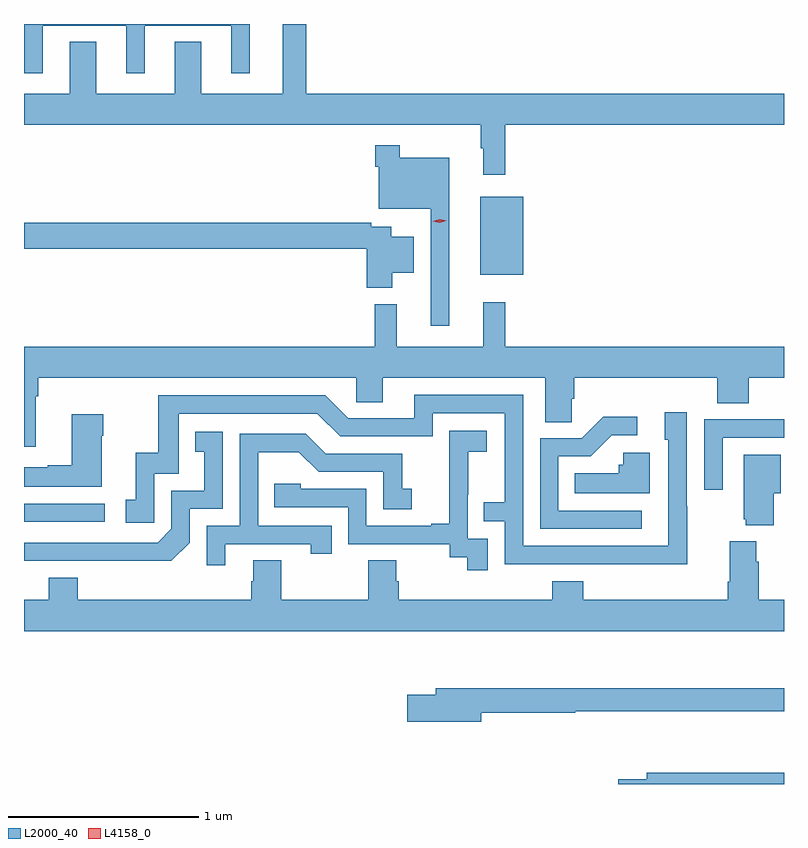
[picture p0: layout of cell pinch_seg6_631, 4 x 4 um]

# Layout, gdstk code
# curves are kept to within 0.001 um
import gdstk
lib = gdstk.Library(unit=1e-6, precision=1e-09)
def R(c, l, rs):  # rectangles x0, y0, x1, y1
    for r in rs: c.add(gdstk.rectangle(r[:2], r[2:], *l))
def P(c, l, *ps):  # polygons
    for p in ps: c.add(gdstk.Polygon(p, *l))
L2000_40 = (2000, 40)
L4158_0 = (4158, 0)

pinch_seg6_631 = lib.new_cell('pinch_seg6_631')
R(pinch_seg6_631, L2000_40, [(417.286,927.93,417.712,928.026), (419.687,929.231,419.914,929.641)])
P(pinch_seg6_631, L2000_40, [(417.385,930.542),(417.824,930.542),(417.824,930.291),(417.922,930.291),(417.922,930.542),(418.376,930.542),(418.376,930.291),(418.474,930.291),(418.474,930.551),(417.286,930.551),(417.286,930.291),(417.385,930.291)],
  [(419.819,930.02),(421.286,930.02),(421.286,930.184),(418.771,930.184),(418.771,930.551),(418.649,930.551),(418.649,930.184),(418.219,930.184),(418.219,930.457),(418.079,930.457),(418.079,930.184),(417.667,930.184),(417.667,930.457),(417.527,930.457),(417.527,930.184),(417.286,930.184),(417.286,930.02),(419.691,930.02),(419.691,929.897),(419.702,929.897),(419.702,929.757),(419.819,929.757)],
  [(419.524,929.848),(419.263,929.848),(419.263,929.914),(419.134,929.914),(419.134,929.801),(419.154,929.801),(419.154,929.579),(419.427,929.579),(419.427,928.962),(419.524,928.962)],
  [(419.224,929.243),(419.338,929.243),(419.338,929.431),(419.218,929.431),(419.218,929.484),(419.114,929.484),(419.114,929.504),(417.286,929.504),(417.286,929.368),(419.09,929.368),(419.09,929.162),(419.224,929.162)],
  [(417.349,928.592),(417.362,928.592),(417.362,928.688),(419.034,928.688),(419.034,928.561),(419.173,928.561),(419.173,928.688),(420.029,928.688),(420.029,928.456),(420.168,928.456),(420.168,928.579),(420.182,928.579),(420.182,928.688),(420.935,928.688),(420.935,928.555),(421.1,928.555),(421.1,928.688),(421.286,928.688),(421.286,928.852),(419.819,928.852),(419.819,929.086),(419.702,929.086),(419.702,928.852),(419.249,928.852),(419.249,929.077),(419.131,929.077),(419.131,928.852),(417.286,928.852),(417.286,928.326),(417.349,928.326)],
  [(420.777,928.013),(420.774,928.013),(420.774,928.507),(420.659,928.507),(420.659,928.362),(420.678,928.362),(420.677,927.804),(419.913,927.804),(419.913,928.599),(419.339,928.599),(419.339,928.476),(418.992,928.476),(418.872,928.596),(417.993,928.596),(417.993,928.294),(417.875,928.294),(417.875,928.047),(417.822,928.047),(417.822,927.927),(417.972,927.927),(417.972,928.185),(418.101,928.185),(418.101,928.5),(418.83,928.5),(418.95,928.38),(419.436,928.38),(419.436,928.503),(419.817,928.503),(419.817,928.034),(419.707,928.034),(419.707,927.933),(419.817,927.933),(419.817,927.708),(420.777,927.707)],
  [(417.694,928.385),(417.702,928.385),(417.702,928.498),(417.536,928.498),(417.536,928.229),(417.41,928.229),(417.41,928.219),(417.286,928.219),(417.286,928.115),(417.694,928.115)],
  [(420.538,927.99),(420.099,927.99),(420.099,928.275),(420.268,928.275),(420.379,928.386),(420.514,928.386),(420.514,928.484),(420.335,928.484),(420.222,928.371),(420.003,928.371),(420.003,927.894),(420.538,927.894)],
  [(420.963,928.374),(421.286,928.374),(421.286,928.472),(421.183,928.472),(421.183,928.47),(420.867,928.47),(420.867,928.101),(420.963,928.101)],
  [(419.727,927.843),(419.622,927.843),(419.622,928.073),(419.624,928.073),(419.624,928.301),(419.722,928.301),(419.722,928.411),(419.524,928.411),(419.524,928.205),(419.525,928.205),(419.525,927.922),(419.429,927.922),(419.429,927.909),(419.088,927.909),(419.088,928.104),(418.743,928.104),(418.743,928.131),(418.603,928.131),(418.603,928.008),(418.992,928.008),(418.992,927.813),(419.526,927.813),(419.526,927.745),(419.619,927.745),(419.619,927.675),(419.727,927.675)],
  [(418.158,927.822),(418.158,927.999),(418.332,927.999),(418.332,928.405),(418.186,928.405),(418.186,928.299),(418.235,928.299),(418.235,928.095),(418.062,928.095),(418.062,927.894),(417.99,927.822),(417.286,927.822),(417.286,927.726),(418.06,927.725)],
  [(418.345,927.813),(418.796,927.813),(418.796,927.762),(418.907,927.762),(418.907,927.909),(418.518,927.909),(418.518,928.298),(418.732,928.298),(418.836,928.194),(419.178,928.194),(419.178,927.996),(419.326,927.996),(419.326,928.105),(419.277,928.105),(419.277,928.29),(418.873,928.29),(418.768,928.395),(418.422,928.395),(418.422,927.909),(418.248,927.909),(418.248,927.702),(418.345,927.702)],
  [(420.58,928.294),(420.441,928.294),(420.441,928.23),(420.415,928.23),(420.415,928.186),(420.184,928.186),(420.184,928.082),(420.58,928.082)],
  [(421.231,928.082),(421.27,928.082),(421.27,928.285),(421.073,928.285),(421.073,927.945),(421.085,927.945),(421.085,927.914),(421.231,927.914)],
  [(421.286,927.52),(421.154,927.52),(421.154,927.722),(421.141,927.722),(421.141,927.829),(421.001,927.829),(421.001,927.616),(420.989,927.616),(420.989,927.52),(420.23,927.52),(420.23,927.619),(420.065,927.619),(420.065,927.52),(419.258,927.52),(419.258,927.618),(419.245,927.618),(419.245,927.728),(419.098,927.728),(419.098,927.52),(418.641,927.52),(418.641,927.728),(418.493,927.728),(418.493,927.618),(418.481,927.618),(418.481,927.52),(417.569,927.52),(417.569,927.637),(417.416,927.637),(417.416,927.52),(417.286,927.52),(417.286,927.356),(421.286,927.356)],
  [(419.692,926.926),(420.188,926.926),(420.188,926.934),(421.286,926.934),(421.286,927.055),(419.453,927.055),(419.453,927.021),(419.304,927.021),(419.304,926.879),(419.692,926.879)],
  [(421.286,926.611),(420.563,926.611),(420.563,926.577),(420.414,926.577),(420.414,926.551),(421.286,926.551)])
P(pinch_seg6_631, L4158_0, [(419.474,929.504),(419.437,929.512),(419.437,929.512),(419.437,929.512),(419.473,929.524),(419.509,929.516),(419.509,929.516),(419.509,929.515)])

lib.write_gds('pinch_seg6_631.gds')
